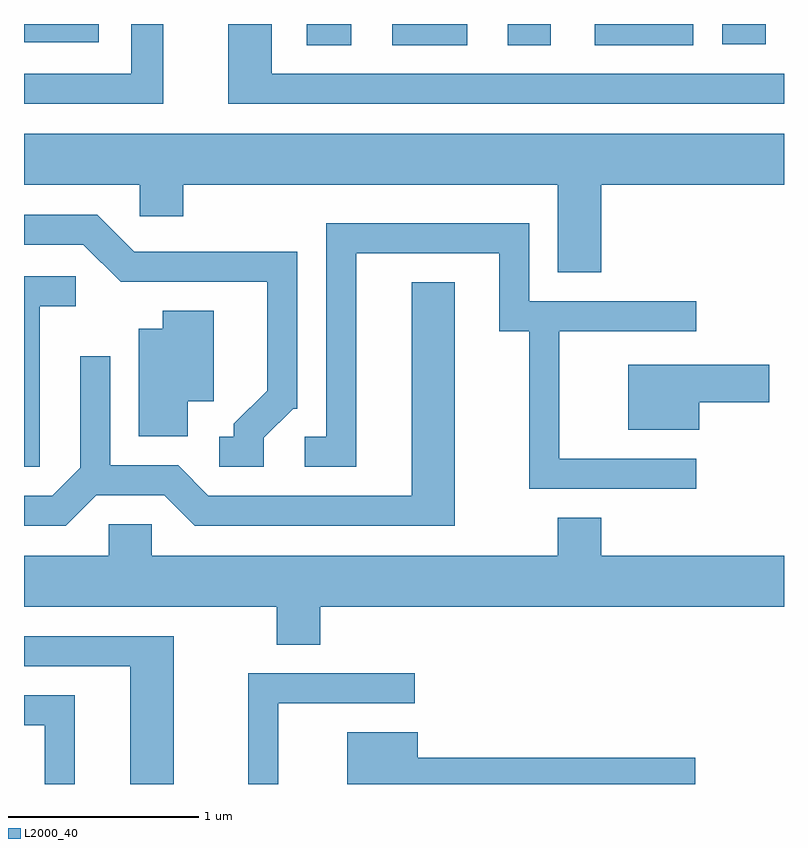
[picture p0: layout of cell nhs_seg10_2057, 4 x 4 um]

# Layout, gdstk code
import gdstk
lib = gdstk.Library(unit=1e-6, precision=1e-09)
def R(c, l, rs):  # rectangles x0, y0, x1, y1
    for r in rs: c.add(gdstk.rectangle(r[:2], r[2:], *l))
def P(c, l, *ps):  # polygons
    for p in ps: c.add(gdstk.Polygon(p, *l))
L2000_40 = (2000, 40)

nhs_seg10_2057 = lib.new_cell('nhs_seg10_2057')
R(nhs_seg10_2057, L2000_40, [(247.098,2132.411,247.334,2132.522), (247.548,2132.411,247.944,2132.522), (248.156,2132.411,248.384,2132.522), (248.616,2132.411,249.134,2132.522), (249.286,2132.416,249.514,2132.522), (245.611,2132.426,246.004,2132.522)])
P(nhs_seg10_2057, L2000_40, [(249.611,2132.261),(249.609,2132.259),(246.914,2132.259),(246.914,2132.522),(246.686,2132.522),(246.686,2132.101),(249.611,2132.101)],
  [(246.344,2132.522),(246.176,2132.522),(246.176,2132.259),(245.611,2132.259),(245.611,2132.101),(246.344,2132.101)],
  [(248.649,2131.676),(249.611,2131.676),(249.611,2131.944),(245.611,2131.944),(245.611,2131.676),(246.221,2131.676),(246.221,2131.511),(246.449,2131.511),(246.449,2131.676),(248.421,2131.676),(248.421,2131.216),(248.649,2131.216)],
  [(246.874,2130.344),(247.027,2130.496),(247.049,2130.496),(247.049,2131.324),(246.192,2131.324),(245.997,2131.519),(245.611,2131.519),(245.611,2131.361),(245.924,2131.361),(246.119,2131.166),(246.891,2131.166),(246.891,2130.592),(246.716,2130.417),(246.716,2130.349),(246.638,2130.349),(246.638,2130.191),(246.874,2130.191)],
  [(249.148,2130.234),(248.429,2130.234),(248.429,2130.906),(249.148,2130.906),(249.148,2131.064),(248.269,2131.064),(248.269,2131.474),(247.201,2131.474),(247.201,2130.349),(247.088,2130.349),(247.088,2130.191),(247.359,2130.191),(247.359,2131.316),(248.111,2131.316),(248.111,2130.906),(248.271,2130.906),(248.271,2130.076),(249.148,2130.076)],
  [(245.694,2131.036),(245.883,2131.036),(245.883,2131.194),(245.611,2131.194),(245.611,2130.191),(245.694,2130.191)],
  [(245.992,2130.041),(246.349,2130.041),(246.509,2129.881),(247.879,2129.881),(247.879,2131.164),(247.651,2131.164),(247.651,2130.039),(246.582,2130.039),(246.422,2130.199),(246.064,2130.199),(246.064,2130.773),(245.906,2130.773),(245.906,2130.187),(245.759,2130.039),(245.611,2130.039),(245.611,2129.881),(245.832,2129.881)],
  [(246.474,2130.536),(246.609,2130.536),(246.609,2131.014),(246.341,2131.014),(246.341,2130.919),(246.216,2130.919),(246.216,2130.351),(246.474,2130.351)],
  [(249.164,2130.531),(249.534,2130.531),(249.534,2130.729),(248.791,2130.729),(248.791,2130.386),(249.164,2130.386)],
  [(246.284,2129.889),(246.056,2129.889),(246.056,2129.724),(245.611,2129.724),(245.611,2129.456),(246.941,2129.456),(246.941,2129.256),(247.169,2129.256),(247.169,2129.456),(249.611,2129.456),(249.611,2129.724),(248.649,2129.724),(248.649,2129.924),(248.421,2129.924),(248.421,2129.724),(246.284,2129.724)],
  [(246.399,2129.299),(245.611,2129.299),(245.611,2129.141),(246.171,2129.141),(246.171,2128.522),(246.399,2128.522)],
  [(246.949,2128.946),(247.668,2128.946),(247.668,2129.104),(246.791,2129.104),(246.791,2128.522),(246.949,2128.522)],
  [(245.879,2128.989),(245.611,2128.989),(245.611,2128.831),(245.721,2128.831),(245.721,2128.522),(245.879,2128.522)],
  [(249.144,2128.659),(247.684,2128.659),(247.684,2128.794),(247.311,2128.794),(247.311,2128.522),(249.144,2128.522)])

lib.write_gds('nhs_seg10_2057.gds')
